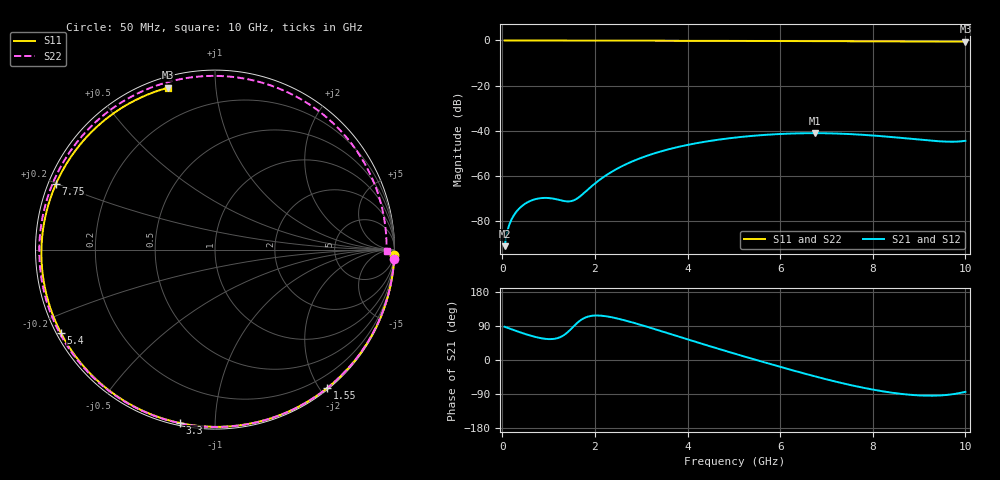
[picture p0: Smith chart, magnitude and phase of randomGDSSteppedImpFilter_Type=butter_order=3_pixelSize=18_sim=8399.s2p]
! freq	dB(S11)	phase(S11)	dB(S12)	phase(S12)
!  dB(S21)	phase(S21)	dB(S22)	phase(S22)
!S-par simulation data
#  GHz  S  DB  R 50
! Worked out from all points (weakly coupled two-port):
!   200 points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, 50 MHz to 10 GHz, reference 50 ohm
!   highest |S21| = -41.16 dB at 6.75 GHz (marker M1); lowest = -91.3 dB at 50 MHz (marker M2)
!   lowest |S11| = -0.5 dB at 10 GHz (marker M3), VSWR 31.88, Z = 2.45 + j37.4 ohm
!   |S11| at or under -10 dB: nowhere
!   |S22| runs from -0.4 to 0.0 dB; largest |S21 - S12| = 0
!   S11 on the Smith chart (normalised r, x): 50 MHz: 0, -67; 1.55 GHz: 0.02, -2.09; 3.3 GHz: 0.01, -0.82; 5.4 GHz: 0.01, -0.25; 7.75 GHz: 0.02, +0.20; 10 GHz: 0.05, +0.75
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0.05  -0.00 -1.7  -91.32 87.7  -91.32 87.7  -0.00 -2.9
0.2  -0.01 -6.8  -79.43 81.0  -79.43 81.0  -0.02 -11.6
0.4  -0.02 -13.6  -73.92 72.4  -73.92 72.4  -0.04 -23.0
0.7  -0.03 -23.6  -70.54 61.2  -70.54 61.2  -0.05 -39.7
1.1  -0.05 -36.8  -70.21 55.6  -70.21 55.6  -0.07 -61.1
1.4  -0.06 -46.4  -71.46 72.1  -71.46 72.1  -0.09 -76.2
1.55  -0.06 -51.1  -70.92 89.9  -70.92 89.9  -0.10 -83.4
1.75  -0.07 -57.4  -67.98 109.5  -67.98 109.5  -0.11 -92.7
2.1  -0.08 -67.9  -61.91 117.2  -61.91 117.2  -0.12 -108.2
2.45  -0.09 -78.2  -57.26 110.5  -57.26 110.5  -0.13 -122.6
3.3  -0.12 -101.5  -50.01 81.2  -50.01 81.2  -0.15 -154.1
3.4  -0.13 -104.1  -49.39 77.4  -49.39 77.4  -0.16 -157.6
4.2  -0.16 -124.1  -45.58 47.0  -45.58 47.0  -0.19 176.0
5.05  -0.19 -143.9  -43.07 15.5  -43.07 15.5  -0.22 149.4
5.4  -0.21 -151.7  -42.36 3.0  -42.36 3.0  -0.23 138.7
6.05  -0.25 -165.9  -41.47 -19.7  -41.47 -19.7  -0.25 118.9
6.7  -0.29 -179.9  -41.16 -41.5  -41.16 -41.5  -0.28 98.9
6.75  -0.29 179.0  -41.16 -43.1  -41.16 -43.1  -0.28 97.4
7.75  -0.37 157.5  -41.84 -72.2  -41.84 -72.2  -0.31 66.6
8.35  -0.41 144.3  -42.77 -85.2  -42.77 -85.2  -0.32 48.2
9.2  -0.48 125.1  -44.38 -94.2  -44.38 -94.2  -0.35 22.6
10  -0.55 106.3  -44.54 -84.0  -44.54 -84.0  -0.39 -0.3
